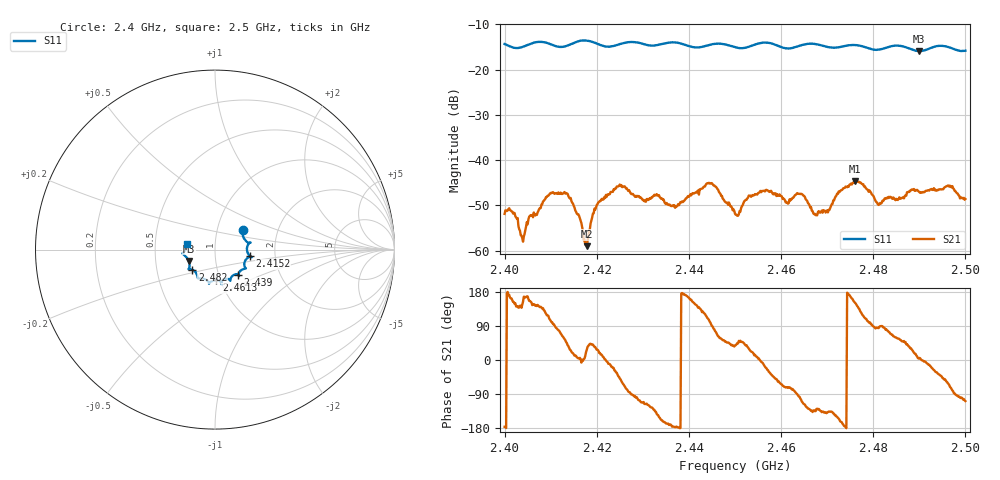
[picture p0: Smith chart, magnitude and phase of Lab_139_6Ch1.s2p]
# Hz S RI R
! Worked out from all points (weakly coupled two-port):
!   601 points, 2.4 GHz to 2.5 GHz, reference 50 ohm
!   highest |S21| = -44.66 dB at 2.476 GHz (marker M1); lowest = -59.0 dB at 2.4178 GHz (marker M2)
!   lowest |S11| = -15.9 dB at 2.49 GHz (marker M3), VSWR 1.38, Z = 36.9 - j4.81 ohm
!   |S11| at or under -10 dB: start of sweep to end of sweep
!   S12 and S22 are empty: the file has one direction only
!   S11 on the Smith chart (normalised r, x): 2.4 GHz: 1.33, +0.31; 2.4152 GHz: 1.48, -0.11; 2.439 GHz: 1.24, -0.36; 2.4613 GHz: 0.96, -0.34; 2.482 GHz: 0.76, -0.17; 2.5 GHz: 0.73, +0.05
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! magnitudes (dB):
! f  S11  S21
! 2.4 GHz  -14.3  -51.9
! 2.4038 GHz  -15.0  -57.2
! 2.41 GHz  -14.4  -47.2
! 2.4152 GHz  -14.1  -50.5
! 2.4167 GHz  -13.6  -53.9
! 2.4178 GHz  -13.6  -59.0
! 2.42 GHz  -14.2  -49.9
! 2.4245 GHz  -14.5  -45.8
! 2.4333 GHz  -14.5  -47.9
! 2.439 GHz  -14.5  -48.9
! 2.4447 GHz  -14.5  -45.2
! 2.45 GHz  -15.0  -51.8
! 2.4563 GHz  -14.0  -46.8
! 2.4613 GHz  -15.3  -49.4
! 2.4642 GHz  -14.7  -47.5
! 2.4667 GHz  -14.3  -51.1
! 2.4702 GHz  -15.0  -51.5
! 2.476 GHz  -14.6  -44.7
! 2.482 GHz  -15.4  -49.0
! 2.4833 GHz  -15.0  -48.1
! 2.49 GHz  -15.9  -47.0
! 2.5 GHz  -15.8  -48.6
